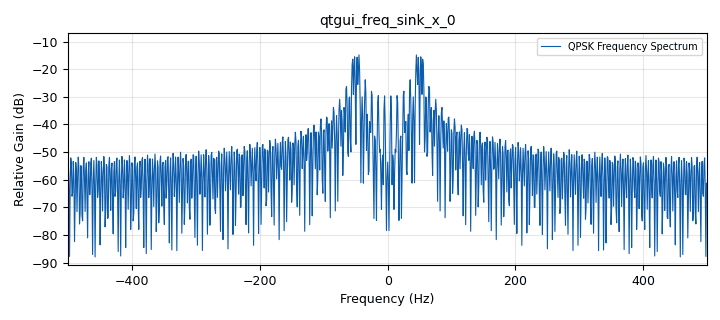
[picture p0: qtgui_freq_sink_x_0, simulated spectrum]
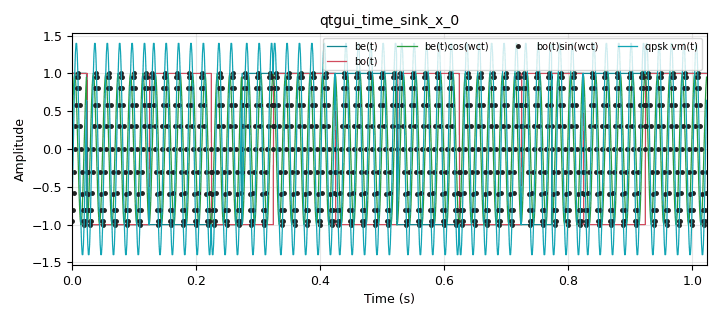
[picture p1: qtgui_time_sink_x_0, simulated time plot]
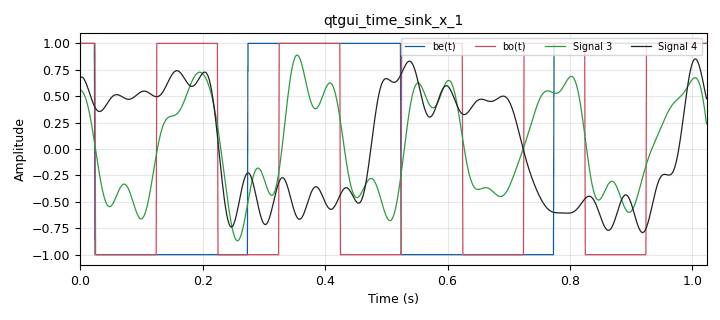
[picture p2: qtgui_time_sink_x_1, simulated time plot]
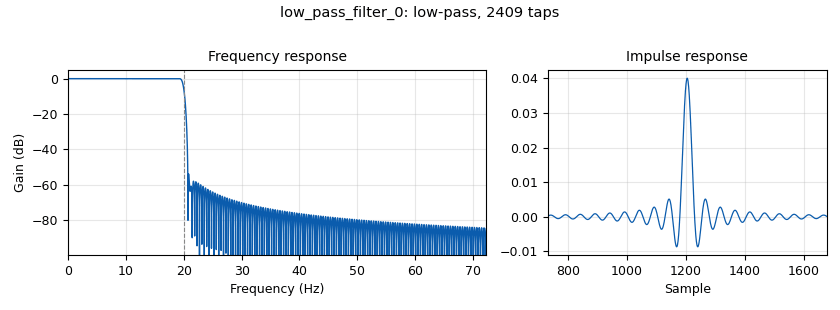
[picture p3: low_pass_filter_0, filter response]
options:
  parameters:
    author: KIIT
    generate_options: qt_gui
    id: QPSK
    output_language: python
    title: Not titled yet
  states: {}

blocks:
- name: samp_rate
  id: variable
  parameters:
    value: '1000'
  states: {}
- name: analog_noise_source_x_0
  id: analog_noise_source_x
  parameters:
    amp: '1'
    noise_type: analog.GR_GAUSSIAN
    seed: '0'
    type: float
  states: {}
- name: analog_sig_source_x_0
  id: analog_sig_source_x
  parameters:
    amp: '2'
    freq: '2'
    offset: '-1'
    phase: '0'
    samp_rate: samp_rate
    type: float
    waveform: analog.GR_SQR_WAVE
  states: {}
- name: analog_sig_source_x_1
  id: analog_sig_source_x
  parameters:
    amp: '1'
    freq: '50'
    offset: '0'
    phase: '0'
    samp_rate: samp_rate
    type: float
    waveform: analog.GR_SIN_WAVE
  states: {}
- name: analog_sig_source_x_2
  id: analog_sig_source_x
  parameters:
    amp: '2'
    freq: '5'
    offset: '-1'
    phase: '0'
    samp_rate: samp_rate
    type: float
    waveform: analog.GR_SQR_WAVE
  states: {}
- name: analog_sig_source_x_3
  id: analog_sig_source_x
  parameters:
    amp: '1'
    freq: '50'
    offset: '0'
    phase: '0'
    samp_rate: samp_rate
    type: float
    waveform: analog.GR_COS_WAVE
  states: {}
- name: analog_sig_source_x_4
  id: analog_sig_source_x
  parameters:
    amp: '1'
    freq: '50'
    offset: '0'
    phase: '0'
    samp_rate: samp_rate
    type: float
    waveform: analog.GR_SIN_WAVE
  states: {}
- name: analog_sig_source_x_5
  id: analog_sig_source_x
  parameters:
    amp: '1'
    freq: '50'
    offset: '0'
    phase: '0'
    samp_rate: samp_rate
    type: float
    waveform: analog.GR_COS_WAVE
  states: {}
- name: blocks_add_xx_0
  id: blocks_add_xx
  parameters:
    type: float
  states: {}
- name: blocks_add_xx_1
  id: blocks_add_xx
  parameters:
    type: float
  states: {}
- name: blocks_multiply_xx_0
  id: blocks_multiply_xx
  parameters:
    type: float
  states: {}
- name: blocks_multiply_xx_1
  id: blocks_multiply_xx
  parameters:
    type: float
  states: {}
- name: blocks_multiply_xx_2
  id: blocks_multiply_xx
  parameters:
    type: float
  states: {}
- name: blocks_multiply_xx_3
  id: blocks_multiply_xx
  parameters:
    type: float
  states: {}
- name: low_pass_filter_0
  id: low_pass_filter
  parameters:
    cutoff_freq: '20'
    decim: '1'
    gain: '1'
    samp_rate: samp_rate
    type: fir_filter_fff
    width: '1'
    win: firdes.WIN_HAMMING
  states: {}
- name: low_pass_filter_1
  id: low_pass_filter
  parameters:
    cutoff_freq: '20'
    decim: '1'
    gain: '1'
    samp_rate: samp_rate
    type: fir_filter_fff
    width: '1'
    win: firdes.WIN_HAMMING
  states: {}
- name: qtgui_freq_sink_x_0
  id: qtgui_freq_sink_x
  parameters:
    autoscale: 'True'
    bw: samp_rate
    ctrlpanel: 'True'
    fc: '0'
    fftsize: '1024'
    grid: 'True'
    label1: QPSK Frequency Spectrum
    type: float
    wintype: firdes.WIN_HAMMING
  states: {}
- name: qtgui_time_sink_x_0
  id: qtgui_time_sink_x
  parameters:
    autoscale: 'True'
    color5: dark red
    ctrlpanel: 'True'
    grid: 'True'
    label1: be(t)
    label2: bo(t)
    label3: be(t)cos(wct)
    label4: bo(t)sin(wct)
    label5: qpsk vm(t)
    nconnections: '5'
    size: '1024'
    srate: samp_rate
    style4: '0'
    type: float
  states: {}
- name: qtgui_time_sink_x_1
  id: qtgui_time_sink_x
  parameters:
    autoscale: 'True'
    ctrlpanel: 'True'
    grid: 'True'
    label1: be(t)
    label2: bo(t)
    nconnections: '4'
    size: '1024'
    srate: samp_rate
    type: float
  states: {}

connections:
- [analog_noise_source_x_0, '0', blocks_add_xx_1, '1']
- [analog_sig_source_x_0, '0', blocks_multiply_xx_0, '1']
- [analog_sig_source_x_0, '0', qtgui_time_sink_x_0, '0']
- [analog_sig_source_x_0, '0', qtgui_time_sink_x_1, '0']
- [analog_sig_source_x_1, '0', blocks_multiply_xx_1, '1']
- [analog_sig_source_x_2, '0', blocks_multiply_xx_1, '0']
- [analog_sig_source_x_2, '0', qtgui_time_sink_x_0, '1']
- [analog_sig_source_x_2, '0', qtgui_time_sink_x_1, '1']
- [analog_sig_source_x_3, '0', blocks_multiply_xx_0, '0']
- [analog_sig_source_x_4, '0', blocks_multiply_xx_2, '1']
- [analog_sig_source_x_5, '0', blocks_multiply_xx_3, '1']
- [blocks_add_xx_0, '0', blocks_add_xx_1, '0']
- [blocks_add_xx_0, '0', qtgui_freq_sink_x_0, '0']
- [blocks_add_xx_0, '0', qtgui_time_sink_x_0, '4']
- [blocks_add_xx_1, '0', blocks_multiply_xx_2, '0']
- [blocks_add_xx_1, '0', blocks_multiply_xx_3, '0']
- [blocks_multiply_xx_0, '0', blocks_add_xx_0, '0']
- [blocks_multiply_xx_0, '0', qtgui_time_sink_x_0, '2']
- [blocks_multiply_xx_1, '0', blocks_add_xx_0, '1']
- [blocks_multiply_xx_1, '0', qtgui_time_sink_x_0, '3']
- [blocks_multiply_xx_2, '0', low_pass_filter_0, '0']
- [blocks_multiply_xx_3, '0', low_pass_filter_1, '0']
- [low_pass_filter_0, '0', qtgui_time_sink_x_1, '2']
- [low_pass_filter_1, '0', qtgui_time_sink_x_1, '3']

metadata:
  file_format: 1
